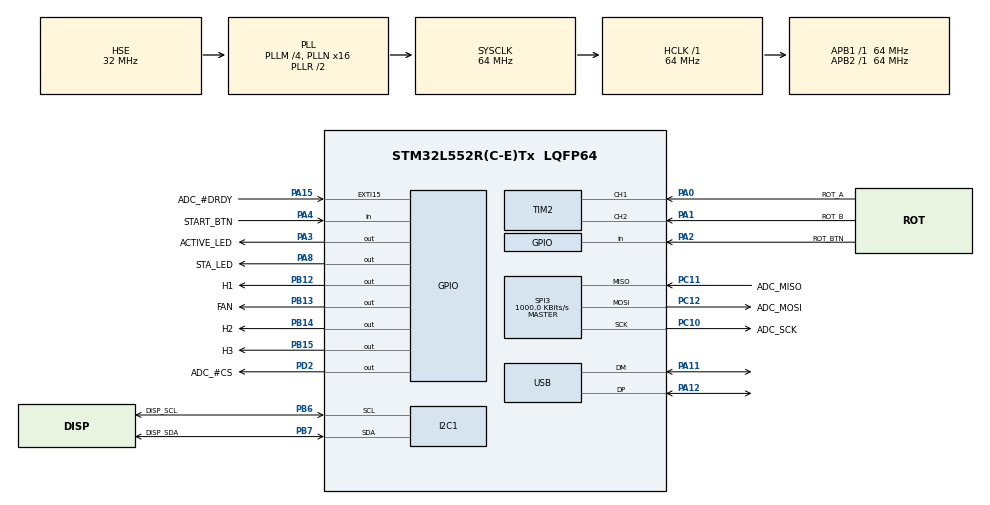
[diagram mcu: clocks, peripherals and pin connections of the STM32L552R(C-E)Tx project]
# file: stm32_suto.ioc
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I2C1.Timing=0x10B17DB5
IWDG.Prescaler=IWDG_PRESCALER_64
Mcu.Family=STM32L5
Mcu.Name=STM32L552R(C-E)Tx
Mcu.Package=LQFP64
NVIC.EXTI15_IRQn=true\:0\:0\:false\:false\:true\:true\:true\:true
NVIC.PriorityGroup=NVIC_PRIORITYGROUP_3
NVIC.USB_FS_IRQn=true\:0\:0\:false\:false\:true\:false\:true\:true
PA0.GPIO_Label=ROT_A
PA0.Signal=S_TIM2_CH1
PA1.GPIO_Label=ROT_B
PA1.Signal=S_TIM2_CH2
PA11.Mode=Device
PA11.Signal=USB_DM
PA12.Mode=Device
PA12.Signal=USB_DP
PA13\ (JTMS/SWDIO).Signal=DEBUG_JTMS-SWDIO
PA14\ (JTCK/SWCLK).Signal=DEBUG_JTCK-SWCLK
PA15\ (JTDI).GPIO_Label=ADC_\#DRDY
PA15\ (JTDI).GPIO_ModeDefaultEXTI=GPIO_MODE_IT_FALLING
PA15\ (JTDI).GPIO_PuPd=GPIO_PULLUP
PA15\ (JTDI).Signal=GPXTI15
PA2.GPIO_Label=ROT_BTN
PA2.Signal=GPIO_Input
PA3.GPIO_Label=ACTIVE_LED
PA3.Signal=GPIO_Output
PA4.GPIO_Label=START_BTN
PA4.Signal=GPIO_Input
PA8.GPIO_Label=STA_LED
PA8.Signal=GPIO_Output
PB12.GPIO_Label=H1
PB12.Signal=GPIO_Output
PB13.GPIO_Label=FAN
PB13.Signal=GPIO_Output
PB14.GPIO_Label=H2
PB14.Signal=GPIO_Output
PB15.GPIO_Label=H3
PB15.Signal=GPIO_Output
PB6.GPIO_Label=DISP_SCL
PB6.Mode=I2C
PB6.Signal=I2C1_SCL
PB7.GPIO_Label=DISP_SDA
PB7.Mode=I2C
PB7.Signal=I2C1_SDA
PC10.GPIO_Label=ADC_SCK
PC10.Mode=Full_Duplex_Master
PC10.Signal=SPI3_SCK
PC11.GPIO_Label=ADC_MISO
PC11.Mode=Full_Duplex_Master
PC11.Signal=SPI3_MISO
PC12.GPIO_Label=ADC_MOSI
PC12.Mode=Full_Duplex_Master
PC12.Signal=SPI3_MOSI
PD2.GPIO_Label=ADC_\#CS
PD2.Signal=GPIO_Output
PH0-OSC_IN\ (PH0).Mode=HSE-External-Oscillator
PH0-OSC_IN\ (PH0).Signal=RCC_OSC_IN
PH1-OSC_OUT\ (PH1).Mode=HSE-External-Oscillator
PH1-OSC_OUT\ (PH1).Signal=RCC_OSC_OUT
ProjectManager.HeapSize=0x200
ProjectManager.StackSize=0x400
ProjectManager.TargetToolchain=CMake
RCC.ADCFreq_Value=24000000
RCC.AHBFreq_Value=64000000
RCC.APB1Freq_Value=64000000
RCC.APB1TimFreq_Value=64000000
RCC.APB2Freq_Value=64000000
RCC.APB2TimFreq_Value=64000000
RCC.CK48CLockSelection=RCC_USBCLKSOURCE_HSI48
RCC.CortexFreq_Value=64000000
RCC.HCLKFreq_Value=64000000
RCC.HSE_VALUE=32000000
RCC.HSI48_VALUE=48000000
RCC.HSI_VALUE=16000000
RCC.LSE_VALUE=32768
RCC.MSI_VALUE=4000000
RCC.PLLM=4
RCC.PLLN=16
RCC.PLLSAI1M=4
RCC.PLLSAI1N=12
RCC.PLLSAI1Source=RCC_PLLSAI1SOURCE_HSI
RCC.PLLSourceVirtual=RCC_PLLSOURCE_HSE
RCC.SYSCLKFreq_VALUE=64000000
RCC.SYSCLKSource=RCC_SYSCLKSOURCE_PLLCLK
RCC.USBFreq_Value=48000000
RCC.VCOOutputFreq_Value=128000000
SH.S_TIM2_CH1.0=TIM2_CH1,Encoder_Interface
SH.S_TIM2_CH2.0=TIM2_CH2,Encoder_Interface
SPI3.BaudRatePrescaler=SPI_BAUDRATEPRESCALER_64
SPI3.CLKPhase=SPI_PHASE_2EDGE
SPI3.CalculateBaudRate=1000.0 KBits/s
SPI3.DataSize=SPI_DATASIZE_8BIT
SPI3.Direction=SPI_DIRECTION_2LINES
SPI3.Mode=SPI_MODE_MASTER
SPI3.VirtualType=VM_MASTER
USB_DEVICE.CLASS_NAME_FS=CDC
USB_DEVICE.VirtualMode=Cdc
USB_DEVICE.VirtualModeFS=Cdc_FS
VP_ICACHE_VS_ICACHE.Mode=DirectMappedCache
VP_IWDG_VS_IWDG.Mode=IWDG_Activate
VP_PWR_VS_DBSignals.Mode=DisableDeadBatterySignals
VP_PWR_VS_SECSignals.Mode=Security/Privilege
VP_USB_DEVICE_VS_USB_DEVICE_CDC_FS.Mode=CDC_FS
board=custom

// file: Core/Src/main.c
/* USER CODE BEGIN Header */
/**
  ******************************************************************************
  * @file           : main.c
  * @brief          : Main program body
  ******************************************************************************
  * @attention
  *
  * Copyright (c) 2026 STMicroelectronics.
  * All rights reserved.
  *
  * This software is licensed under terms that can be found in the LICENSE file
  * in the root directory of this software component.
  * If no LICENSE file comes with this software, it is provided AS-IS.
  *
  ******************************************************************************
  */
/* USER CODE END Header */
#include "main.h"
#include "i2c.h"
#include "icache.h"
#include "iwdg.h"
#include "spi.h"
#include "tim.h"
#include "usb_device.h"
#include "gpio.h"

/* USER CODE BEGIN Includes */
#include "buttons.h"
#include "ui.h"
#include "temp_control.h"
#include "ads124s08.h"
#include "i2c_lcd.h"
#include "usbd_cdc_if.h"
#include <string.h>
/* USER CODE END Includes */

/* USER CODE BEGIN PTD */
extern USBD_HandleTypeDef hUsbDeviceFS;
/* USER CODE END PTD */

/* USER CODE BEGIN PV */

I2C_LCD_HandleTypeDef lcd1;

/* USER CODE END PV */

void SystemClock_Config(void);
/* USER CODE BEGIN PFP */
/*usb-re kiiiras kijelzo nelkul teszteleshez*/
void display_write(char* firstline, char* secondline)
{
  if(firstline == NULL || secondline == NULL || strlen(firstline) > 16 || strlen(secondline) > 16)
    Error_Handler();
  /* Check if USB is connected and configured by the host */
  if (hUsbDeviceFS.dev_state == USBD_STATE_CONFIGURED)
  {
    char msg[50];
    snprintf(msg, sizeof(msg), "\n\n\n\n\r%s\r%s\r", firstline, secondline);
    CDC_Transmit_FS((uint8_t*)msg, strlen(msg));
  }
}/*
void usb_log() {
  double temps[4] = {0};
  double res[4] = {0};
  char buffer[50];
  char* end = "\n\n\n\r";
  ads124s08_getTemps(temps);
  ads124s08_getResistances(res);
  if (hUsbDeviceFS.dev_state == USBD_STATE_CONFIGURED)
  {
    for(int i = 0; i < 4; i++) {
      snprintf(buffer, sizeof(buffer), "%d.: %f C, resistance: %f \n", i + 1, temps[i], res[i]);
      CDC_Transmit_FS((uint8_t*)buffer, strlen(buffer));
    }
    //CDC_Transmit_FS((uint8_t*)end, strlen(end));
  }
}*/
void usb_log() {
    double temps[4] = {0};
    double res[4] = {0};
    // 1. Increase buffer size to hold ALL lines (approx 60 chars per line * 4 lines + margin)
    static char buffer[300];
    int offset = 0; // To keep track of where we are writing in the buffer

    ads124s08_getTemps(temps);
    ads124s08_getResistances(res);

    if (hUsbDeviceFS.dev_state == USBD_STATE_CONFIGURED)
    {
        for(int i = 0; i < 4; i++) {
            // 2. Append to the buffer using offset
            offset += snprintf(buffer + offset, sizeof(buffer) - offset,
                               "%d.: %f C, resistance: %f \r\n", i + 1, temps[i], res[i]);
        }

        // 3. Add the end string if needed
        offset += snprintf(buffer + offset, sizeof(buffer) - offset, "\r\n\r\n");

        // 4. Send everything at once
        CDC_Transmit_FS((uint8_t*)buffer, strlen(buffer));
    }
}
/* USER CODE END PFP */

int main(void)
{

  /* USER CODE BEGIN 1 */

    Button_t start_stop_btn = {
    .port = START_BTN_GPIO_Port,
    .pin = START_BTN_Pin,
    .activeState = GPIO_PIN_RESET,
    .state = BUTTON_INACTIVE,
    .event = BTN_NO_EVENT,
    .last_time = 0u
  };
  Button_t encoder_btn = {
    .port = ROT_BTN_GPIO_Port,
    .pin = ROT_BTN_Pin,
    .activeState = GPIO_PIN_RESET,
    .state = BUTTON_INACTIVE,
    .event = BTN_NO_EVENT,
    .last_time = 0u
  };
  Encoder_t encoder = {
    .timerHandle = &htim2
  };

  uint32_t u32BlinkTimer = 0u;
  uint32_t u32PidLoopTimer = 0u;

  UiState_t uiState = {
    .mainState = UI_HOME
  };

  char firstLine[17] = {0};
  char secondLine[17] = {0};
  bool isActive = false;
  /* USER CODE END 1 */

  /* MCU Configuration--------------------------------------------------------*/

  /* Reset of all peripherals, Initializes the Flash interface and the Systick. */
  HAL_Init();

  /* Configure the system clock */
  SystemClock_Config();

  /* Initialize all configured peripherals */
  MX_GPIO_Init();
  MX_TIM2_Init();
  MX_USB_Device_Init();
  MX_ICACHE_Init();
  MX_I2C1_Init();
  MX_SPI3_Init();
  MX_IWDG_Init();
  /* USER CODE BEGIN 2 */
  HAL_TIM_Encoder_Start(&htim2, TIM_CHANNEL_ALL);
  ads124s08_init();
  ui_Load_Settings();
  // --- LCD INDÍTÁS ---
  lcd1.hi2c = &hi2c1;       // Az I2C busz hozzárendelése (fontos: hi2c1)
  lcd1.address = 0x4E;      // Cím beállítása (Ha nem megy, próbáld: 0x27)
  lcd_init(&lcd1);          // Kijelző bekapcsolása
  // Opcionális: Indulási üzenet teszteléshez
  lcd_gotoxy(&lcd1, 0, 0);
  lcd_puts(&lcd1, "System Ready");
  HAL_Delay(1000);          // Várunk 1 mp-et, hogy lásd
  lcd_clear(&lcd1);         // Letöröljük

  /* USER CODE END 2 */

  /* Infinite loop */
  /* USER CODE BEGIN WHILE */
  while (1) //todo: watchdog prescaler!!!!!
  {
    button_poll(&start_stop_btn);
    button_poll(&encoder_btn);

    if(button_check_event(&start_stop_btn, BTN_RELEASED)) {
      HAL_GPIO_TogglePin(ACTIVE_LED_GPIO_Port, ACTIVE_LED_Pin);
      isActive = !isActive;

      u32PidLoopTimer = HAL_GetTick() - 5000u; //azonnal lefut a pid frissites
    }

    ads124s08_poll();
    //if(ads124s08_readingsReadyCheck()) {
    if(HAL_GetTick() - u32PidLoopTimer > 5000u) {
      u32PidLoopTimer = HAL_GetTick();
      tempctrl_pid_loop(isActive); //csak akkor kell meghivni ha korbeert a 4 szenzoron
      if(isActive)
        usb_log();
    }

    if(ads124s08_readingsReadyCheck()) { //csak akkor frissitjuk, ha korbert
      // Frissítjük a Watchdog-ot                       //kb 2s ra van allitva 16x prescalerrel
      HAL_IWDG_Refresh(&hiwdg);
    }

    //update ui
    update_UI_state(&uiState, &encoder, &encoder_btn);
    //update display (csak ha valami valtozott)
    if(update_UI_str(firstLine, secondLine, &uiState, &encoder) == true) {

      //display_write(firstLine, secondLine);

      // --- LCD FRISSÍTÉS ---
      //lcd_clear(&lcd1);             // Törlés (fontos a szemetelődés ellen)

      lcd_gotoxy(&lcd1, 0, 0);      // 1. sor eleje
      lcd_puts(&lcd1, firstLine);   // 1. szöveg

      lcd_gotoxy(&lcd1, 0, 1);      // 2. sor eleje
      lcd_puts(&lcd1, secondLine);  // 2. szöveg

    }

    // Get the direction (0 = Up, 1 = Down)
    //bool direction = __HAL_TIM_IS_TIM_COUNTING_DOWN(&htim1);

    //Blinker
    if(HAL_GetTick() - u32BlinkTimer > 500u) {
      //HAL_GPIO_TogglePin(STA_LED_GPIO_Port, STA_LED_Pin);
      u32BlinkTimer = HAL_GetTick();
    }

    /* USER CODE END WHILE */

  }
}

void SystemClock_Config(void)
{
  RCC_OscInitTypeDef RCC_OscInitStruct = {0};
  RCC_ClkInitTypeDef RCC_ClkInitStruct = {0};

  /** Configure the main internal regulator output voltage
  */
  if (HAL_PWREx_ControlVoltageScaling(PWR_REGULATOR_VOLTAGE_SCALE1) != HAL_OK)
  {
    Error_Handler();
  }

  /** Initializes the RCC Oscillators according to the specified parameters
  * in the RCC_OscInitTypeDef structure.
  */
  RCC_OscInitStruct.OscillatorType = RCC_OSCILLATORTYPE_HSI48|RCC_OSCILLATORTYPE_LSI
                              |RCC_OSCILLATORTYPE_HSE;
  RCC_OscInitStruct.HSEState = RCC_HSE_ON;
  RCC_OscInitStruct.HSI48State = RCC_HSI48_ON;
  RCC_OscInitStruct.LSIDiv = RCC_LSI_DIV1;
  RCC_OscInitStruct.LSIState = RCC_LSI_ON;
  RCC_OscInitStruct.PLL.PLLState = RCC_PLL_ON;
  RCC_OscInitStruct.PLL.PLLSource = RCC_PLLSOURCE_HSE;
  RCC_OscInitStruct.PLL.PLLM = 4;
  RCC_OscInitStruct.PLL.PLLN = 16;
  RCC_OscInitStruct.PLL.PLLP = RCC_PLLP_DIV7;
  RCC_OscInitStruct.PLL.PLLQ = RCC_PLLQ_DIV2;
  RCC_OscInitStruct.PLL.PLLR = RCC_PLLR_DIV2;
  if (HAL_RCC_OscConfig(&RCC_OscInitStruct) != HAL_OK)
  {
    Error_Handler();
  }

  /** Initializes the CPU, AHB and APB buses clocks
  */
  RCC_ClkInitStruct.ClockType = RCC_CLOCKTYPE_HCLK|RCC_CLOCKTYPE_SYSCLK
                              |RCC_CLOCKTYPE_PCLK1|RCC_CLOCKTYPE_PCLK2;
  RCC_ClkInitStruct.SYSCLKSource = RCC_SYSCLKSOURCE_PLLCLK;
  RCC_ClkInitStruct.AHBCLKDivider = RCC_SYSCLK_DIV1;
  RCC_ClkInitStruct.APB1CLKDivider = RCC_HCLK_DIV1;
  RCC_ClkInitStruct.APB2CLKDivider = RCC_HCLK_DIV1;

  if (HAL_RCC_ClockConfig(&RCC_ClkInitStruct, FLASH_LATENCY_3) != HAL_OK)
  {
    Error_Handler();
  }
}

/* USER CODE BEGIN 4 */
void HAL_GPIO_EXTI_Falling_Callback(uint16_t GPIO_Pin)
{
    /* Check if the interrupt came from the correct pin */
    if (GPIO_Pin == ADC__DRDY_Pin)
    {
        dataReadyFlag = true;
        HAL_GPIO_TogglePin(STA_LED_GPIO_Port, STA_LED_Pin);
    }
}
/* USER CODE END 4 */

void Error_Handler(void)
{
  __disable_irq();
  while (1)
  {
  }
}
